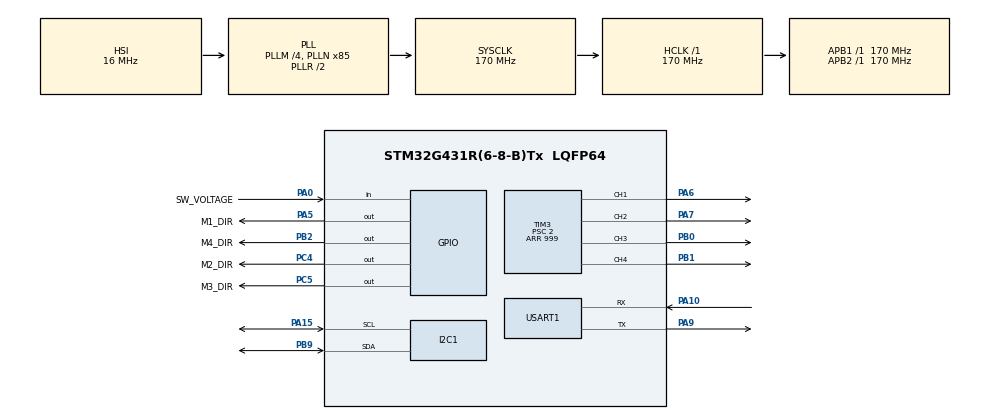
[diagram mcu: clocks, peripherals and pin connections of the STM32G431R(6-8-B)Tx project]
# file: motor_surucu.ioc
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I2C1.Timing=0x40B285C2
Mcu.Family=STM32G4
Mcu.Name=STM32G431R(6-8-B)Tx
Mcu.Package=LQFP64
NVIC.PriorityGroup=NVIC_PRIORITYGROUP_4
NVIC.USART1_IRQn=true\:0\:0\:false\:false\:true\:true\:true\:true
PA0.GPIO_Label=SW_VOLTAGE
PA0.GPIO_PuPd=GPIO_PULLUP
PA0.Signal=GPIO_Input
PA10.Mode=Asynchronous
PA10.Signal=USART1_RX
PA13.Mode=Serial_Wire
PA13.Signal=SYS_JTMS-SWDIO
PA14.Mode=Serial_Wire
PA14.Signal=SYS_JTCK-SWCLK
PA15.Mode=I2C
PA15.Signal=I2C1_SCL
PA5.GPIO_Label=M1_DIR
PA5.Signal=GPIO_Output
PA6.Signal=S_TIM3_CH1
PA7.Signal=S_TIM3_CH2
PA9.Mode=Asynchronous
PA9.Signal=USART1_TX
PB0.Signal=S_TIM3_CH3
PB1.Signal=S_TIM3_CH4
PB2.GPIO_Label=M4_DIR
PB2.Signal=GPIO_Output
PB9.Mode=I2C
PB9.Signal=I2C1_SDA
PC4.GPIO_Label=M2_DIR
PC4.Signal=GPIO_Output
PC5.GPIO_Label=M3_DIR
PC5.Signal=GPIO_Output
ProjectManager.HeapSize=0x200
ProjectManager.StackSize=0x400
ProjectManager.TargetToolchain=STM32CubeIDE
RCC.ADC12Freq_Value=170000000
RCC.AHBFreq_Value=170000000
RCC.APB1Freq_Value=170000000
RCC.APB1TimFreq_Value=170000000
RCC.APB2Freq_Value=170000000
RCC.APB2TimFreq_Value=170000000
RCC.CortexFreq_Value=170000000
RCC.EXTERNAL_CLOCK_VALUE=12288000
RCC.HCLKFreq_Value=170000000
RCC.HSE_VALUE=8000000
RCC.HSI48_VALUE=48000000
RCC.HSI_VALUE=16000000
RCC.LSE_VALUE=32768
RCC.PLLM=RCC_PLLM_DIV4
RCC.PLLN=85
RCC.SYSCLKFreq_VALUE=170000000
RCC.SYSCLKSource=RCC_SYSCLKSOURCE_PLLCLK
RCC.USBFreq_Value=170000000
RCC.VCOOutputFreq_Value=340000000
SH.S_TIM3_CH1.0=TIM3_CH1,PWM Generation1 CH1
SH.S_TIM3_CH2.0=TIM3_CH2,PWM Generation2 CH2
SH.S_TIM3_CH3.0=TIM3_CH3,PWM Generation3 CH3
SH.S_TIM3_CH4.0=TIM3_CH4,PWM Generation4 CH4
TIM3.AutoReloadPreload=TIM_AUTORELOAD_PRELOAD_ENABLE
TIM3.Channel-PWM\ Generation1\ CH1=TIM_CHANNEL_1
TIM3.Channel-PWM\ Generation2\ CH2=TIM_CHANNEL_2
TIM3.Channel-PWM\ Generation3\ CH3=TIM_CHANNEL_3
TIM3.Channel-PWM\ Generation4\ CH4=TIM_CHANNEL_4
TIM3.PeriodNoDither=999
TIM3.Prescaler=2
USART1.VirtualMode-Asynchronous=VM_ASYNC
VP_SYS_VS_DBSignals.Mode=DisableDeadBatterySignals
VP_TIM3_VS_ClockSourceINT.Mode=Internal
board=custom

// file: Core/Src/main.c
/* USER CODE BEGIN Header */
/**
  ******************************************************************************
  * @file           : main.c
  * @brief          : Main program body
  ******************************************************************************
  * @attention
  *
  * Copyright (c) 2026 STMicroelectronics.
  * All rights reserved.
  *
  * This software is licensed under terms that can be found in the LICENSE file
  * in the root directory of this software component.
  * If no LICENSE file comes with this software, it is provided AS-IS.
  *
  ******************************************************************************
  */
/* USER CODE END Header */
#include "main.h"

/* USER CODE BEGIN Includes */
#include <stdio.h>  // sscanf ve sprintf için
#include <string.h> // metin uzunluklarını ölçmek için
#include <stdlib.h> // genel matematik işlemleri için
/* USER CODE END Includes */

I2C_HandleTypeDef hi2c1;

TIM_HandleTypeDef htim3;

UART_HandleTypeDef huart1;

/* USER CODE BEGIN PV */
// --- HABERLEŞME DEĞİŞKENLERİ ---
uint8_t rx_data;             // Gelen tek harf
uint8_t rx_buffer[50];       // Gelen cümlenin tamamı
uint8_t rx_index = 0;        // Sıra numarası
uint8_t komut_geldi_bayragi = 0; // Mesaj tamamlandı mı?

// --- SİSTEM AYARLARI ---
// Başlangıçta 416 (5V Modu) olsun ki güvenli başlasın.
uint16_t voltaj_limiti = 416;
/* USER CODE END PV */

void SystemClock_Config(void);
static void MX_GPIO_Init(void);
static void MX_I2C1_Init(void);
static void MX_TIM3_Init(void);
static void MX_USART1_UART_Init(void);

/* USER CODE BEGIN 0 */
// --- 1. VOLTAJ MODU KONTROLÜ ---
void Modu_Kontrol_Et(void) {
    // Switch GND'ye (Aşağı) çekiliyse -> PIN 0 (Low) okunur -> 5V MODU
    if (HAL_GPIO_ReadPin(GPIOA, GPIO_PIN_0) == GPIO_PIN_RESET) {
        // 12V girişin %41.6'sı (Yaklaşık 5V çıkış)
        voltaj_limiti = 416;
    }
    // Switch Boşta (Yukarı) ise -> PIN 1 (High/Pull-up) okunur -> 12V MODU
    else {
        // Tam güç (12V çıkış)
        voltaj_limiti = 1000;
    }
}

// --- 2. MOTOR SÜRME FONKSİYONU ---
// Özellikler:
// - Minimum PWM Eşiği YOK (Lineer Hesap).
// - TB67 Sürücüsü için Geri Yön Düzeltmesi VAR.
// --- 2. MOTOR SÜRME FONKSİYONU (TB67H451FNG Datasheet Uyumlu) ---
void Motoru_Sur(uint8_t motor_id, uint8_t yon, uint8_t hiz) {

    // Güvenlik: Hız 100'den büyük olamaz.
    if (hiz > 100) hiz = 100;

    uint32_t hedef_pwm = 0;
    uint32_t final_pulse = 0;

    // 1. ADIM: Hedef PWM'i Voltaj Limitine Göre Hesapla
    // 5V Modu: (100 * 416) / 100 = 416 Pulse
    // 12V Modu: (100 * 1000) / 100 = 1000 Pulse
    if (hiz > 0) {
        hedef_pwm = (hiz * voltaj_limiti) / 100;
    } else {
        hedef_pwm = 0;
    }

    // 2. ADIM: Sürücü Mantığına Göre Pulse Ayarla
    // TB67H451FNG'de bir pin High iken diğerini PWM'lersek mantık ters işler.

    if (yon == 0) {
        // --- DURUM A: Yön Pini LOW (0) ---
        // IN1 = 0, IN2 = PWM
        // PWM High oldukça motor hızlanır (Düz Mantık).
        // Modlar: Stop (L/L) <-> Reverse (L/H)
        final_pulse = hedef_pwm;
    }
    else {
        // --- DURUM B: Yön Pini HIGH (1) ---
        // IN1 = 1, IN2 = PWM
        // PWM LOW oldukça motor hızlanır (Ters Mantık).
        // Modlar: Forward (H/L) <-> Brake (H/H)
        // 5V istiyorsak (416 güç), sinyalin %41'i LOW, %59'u HIGH olmalı.
        final_pulse = 1000 - hedef_pwm;
    }

    // 3. ADIM: Pinlere Uygula
    switch (motor_id) {
        case 1: // M1
            HAL_GPIO_WritePin(M1_DIR_GPIO_Port, M1_DIR_Pin, (yon ? GPIO_PIN_SET : GPIO_PIN_RESET));
            __HAL_TIM_SET_COMPARE(&htim3, TIM_CHANNEL_1, final_pulse);
            break;

        case 2: // M2
            HAL_GPIO_WritePin(M2_DIR_GPIO_Port, M2_DIR_Pin, (yon ? GPIO_PIN_SET : GPIO_PIN_RESET));
            __HAL_TIM_SET_COMPARE(&htim3, TIM_CHANNEL_2, final_pulse);
            break;

        case 3: // M3
            HAL_GPIO_WritePin(M3_DIR_GPIO_Port, M3_DIR_Pin, (yon ? GPIO_PIN_SET : GPIO_PIN_RESET));
            __HAL_TIM_SET_COMPARE(&htim3, TIM_CHANNEL_3, final_pulse);
            break;

        case 4: // M4
            HAL_GPIO_WritePin(M4_DIR_GPIO_Port, M4_DIR_Pin, (yon ? GPIO_PIN_SET : GPIO_PIN_RESET));
            __HAL_TIM_SET_COMPARE(&htim3, TIM_CHANNEL_4, final_pulse);
            break;
    }
}// --- 3. UART KESME (RX Callback) ---
void HAL_UART_RxCpltCallback(UART_HandleTypeDef *huart) {
    if (huart->Instance == USART1) {
        // Satır sonu (Enter) karakteri geldi mi?
        if (rx_data == '\n' || rx_data == '\r') {
            rx_buffer[rx_index] = 0; // Stringi kapat
            komut_geldi_bayragi = 1; // Main'e haber ver
            rx_index = 0;            // Sayacı sıfırla
        } else {
            // Buffer taşmasın diye kontrol et
            if (rx_index < 49) {
                rx_buffer[rx_index++] = rx_data; // Harfi kaydet
            }
        }
        // Kesmeyi tekrar aktifleştir
        HAL_UART_Receive_IT(&huart1, &rx_data, 1);
    }
}
/* USER CODE END 0 */

int main(void)
{

  /* MCU Configuration--------------------------------------------------------*/

  /* Reset of all peripherals, Initializes the Flash interface and the Systick. */
  HAL_Init();

  /* Configure the system clock */
  SystemClock_Config();

  /* Initialize all configured peripherals */
  MX_GPIO_Init();
  MX_I2C1_Init();
  MX_TIM3_Init();
  MX_USART1_UART_Init();
  /* USER CODE BEGIN 2 */
  // 1. Dört PWM kanalını da başlatıyoruz (Motorlara sinyal gitmeye başlar ama hız 0'dır)
    HAL_TIM_PWM_Start(&htim3, TIM_CHANNEL_1);
    HAL_TIM_PWM_Start(&htim3, TIM_CHANNEL_2);
    HAL_TIM_PWM_Start(&htim3, TIM_CHANNEL_3);
    HAL_TIM_PWM_Start(&htim3, TIM_CHANNEL_4);

    // 2. UART Dinlemesini Başlatıyoruz (Kulağını aç, veri gelirse kesmeye git)
    HAL_UART_Receive_IT(&huart1, &rx_data, 1);

    // 3. Başlangıç mesajı gönderelim (Opsiyonel ama hoş durur)
    char *msg = "Sistem Hazir! Komut Bekleniyor...\r\n";
    HAL_UART_Transmit(&huart1, (uint8_t*)msg, strlen(msg), 100);
  /* USER CODE END 2 */

  /* Infinite loop */
  while (1)
  {

    /* USER CODE BEGIN 3 */
	  // ADIM A: Switch Durumunu Kontrol Et (Sürekli)
	      Modu_Kontrol_Et();

	      // ADIM B: UART'tan Komut Geldi mi?
	      if (komut_geldi_bayragi == 1) {
	          komut_geldi_bayragi = 0; // Bayrağı indir

	          int m_id, m_hiz;
	          char m_yon_char; // 'F' veya 'R'

	          // Gelen veriyi parçala: Örn "M1 F 100"
	          if (sscanf((char*)rx_buffer, "M%d %c %d", &m_id, &m_yon_char, &m_hiz) == 3) {

	              // Yön Harfini Sayıya Çevir: R=1(Geri), Diğerleri=0(İleri)
	              uint8_t yon_kodu = 0;
	              if (m_yon_char == 'R' || m_yon_char == 'r') {
	                  yon_kodu = 1;
	              }

	              // Motoru Sür
	              Motoru_Sur(m_id, yon_kodu, m_hiz);

	              // Geri Bildirim Gönder (Limit bilgisini de içerir)
	              char tx_msg[64];
	              sprintf(tx_msg, "OK -> Motor:%d Yon:%c Hiz:%d (Limit:%d)\r\n",
	                      m_id, m_yon_char, m_hiz, voltaj_limiti);
	              HAL_UART_Transmit(&huart1, (uint8_t*)tx_msg, strlen(tx_msg), 100);

	          } else {
	              // Hatalı Format Uyarısı
	              char *err = "HATA: Format 'M1 F 100' olmali.\r\n";
	              HAL_UART_Transmit(&huart1, (uint8_t*)err, strlen(err), 100);
	          }
	      }

	      // İşlemciyi çok yormamak için kısa bekleme
	      HAL_Delay(10);

  }
  /* USER CODE END 3 */
}

void SystemClock_Config(void)
{
  RCC_OscInitTypeDef RCC_OscInitStruct = {0};
  RCC_ClkInitTypeDef RCC_ClkInitStruct = {0};

  /** Configure the main internal regulator output voltage
  */
  HAL_PWREx_ControlVoltageScaling(PWR_REGULATOR_VOLTAGE_SCALE1_BOOST);

  /** Initializes the RCC Oscillators according to the specified parameters
  * in the RCC_OscInitTypeDef structure.
  */
  RCC_OscInitStruct.OscillatorType = RCC_OSCILLATORTYPE_HSI;
  RCC_OscInitStruct.HSIState = RCC_HSI_ON;
  RCC_OscInitStruct.HSICalibrationValue = RCC_HSICALIBRATION_DEFAULT;
  RCC_OscInitStruct.PLL.PLLState = RCC_PLL_ON;
  RCC_OscInitStruct.PLL.PLLSource = RCC_PLLSOURCE_HSI;
  RCC_OscInitStruct.PLL.PLLM = RCC_PLLM_DIV4;
  RCC_OscInitStruct.PLL.PLLN = 85;
  RCC_OscInitStruct.PLL.PLLP = RCC_PLLP_DIV2;
  RCC_OscInitStruct.PLL.PLLQ = RCC_PLLQ_DIV2;
  RCC_OscInitStruct.PLL.PLLR = RCC_PLLR_DIV2;
  if (HAL_RCC_OscConfig(&RCC_OscInitStruct) != HAL_OK)
  {
    Error_Handler();
  }

  /** Initializes the CPU, AHB and APB buses clocks
  */
  RCC_ClkInitStruct.ClockType = RCC_CLOCKTYPE_HCLK|RCC_CLOCKTYPE_SYSCLK
                              |RCC_CLOCKTYPE_PCLK1|RCC_CLOCKTYPE_PCLK2;
  RCC_ClkInitStruct.SYSCLKSource = RCC_SYSCLKSOURCE_PLLCLK;
  RCC_ClkInitStruct.AHBCLKDivider = RCC_SYSCLK_DIV1;
  RCC_ClkInitStruct.APB1CLKDivider = RCC_HCLK_DIV1;
  RCC_ClkInitStruct.APB2CLKDivider = RCC_HCLK_DIV1;

  if (HAL_RCC_ClockConfig(&RCC_ClkInitStruct, FLASH_LATENCY_4) != HAL_OK)
  {
    Error_Handler();
  }
}

static void MX_I2C1_Init(void)
{

  hi2c1.Instance = I2C1;
  hi2c1.Init.Timing = 0x40B285C2;
  hi2c1.Init.OwnAddress1 = 0;
  hi2c1.Init.AddressingMode = I2C_ADDRESSINGMODE_7BIT;
  hi2c1.Init.DualAddressMode = I2C_DUALADDRESS_DISABLE;
  hi2c1.Init.OwnAddress2 = 0;
  hi2c1.Init.OwnAddress2Masks = I2C_OA2_NOMASK;
  hi2c1.Init.GeneralCallMode = I2C_GENERALCALL_DISABLE;
  hi2c1.Init.NoStretchMode = I2C_NOSTRETCH_DISABLE;
  if (HAL_I2C_Init(&hi2c1) != HAL_OK)
  {
    Error_Handler();
  }

  /** Configure Analogue filter
  */
  if (HAL_I2CEx_ConfigAnalogFilter(&hi2c1, I2C_ANALOGFILTER_ENABLE) != HAL_OK)
  {
    Error_Handler();
  }

  /** Configure Digital filter
  */
  if (HAL_I2CEx_ConfigDigitalFilter(&hi2c1, 0) != HAL_OK)
  {
    Error_Handler();
  }

}

static void MX_TIM3_Init(void)
{

  TIM_ClockConfigTypeDef sClockSourceConfig = {0};
  TIM_MasterConfigTypeDef sMasterConfig = {0};
  TIM_OC_InitTypeDef sConfigOC = {0};

  htim3.Instance = TIM3;
  htim3.Init.Prescaler = 2;
  htim3.Init.CounterMode = TIM_COUNTERMODE_UP;
  htim3.Init.Period = 999;
  htim3.Init.ClockDivision = TIM_CLOCKDIVISION_DIV1;
  htim3.Init.AutoReloadPreload = TIM_AUTORELOAD_PRELOAD_ENABLE;
  if (HAL_TIM_Base_Init(&htim3) != HAL_OK)
  {
    Error_Handler();
  }
  sClockSourceConfig.ClockSource = TIM_CLOCKSOURCE_INTERNAL;
  if (HAL_TIM_ConfigClockSource(&htim3, &sClockSourceConfig) != HAL_OK)
  {
    Error_Handler();
  }
  if (HAL_TIM_PWM_Init(&htim3) != HAL_OK)
  {
    Error_Handler();
  }
  sMasterConfig.MasterOutputTrigger = TIM_TRGO_RESET;
  sMasterConfig.MasterSlaveMode = TIM_MASTERSLAVEMODE_DISABLE;
  if (HAL_TIMEx_MasterConfigSynchronization(&htim3, &sMasterConfig) != HAL_OK)
  {
    Error_Handler();
  }
  sConfigOC.OCMode = TIM_OCMODE_PWM1;
  sConfigOC.Pulse = 0;
  sConfigOC.OCPolarity = TIM_OCPOLARITY_HIGH;
  sConfigOC.OCFastMode = TIM_OCFAST_DISABLE;
  if (HAL_TIM_PWM_ConfigChannel(&htim3, &sConfigOC, TIM_CHANNEL_1) != HAL_OK)
  {
    Error_Handler();
  }
  if (HAL_TIM_PWM_ConfigChannel(&htim3, &sConfigOC, TIM_CHANNEL_2) != HAL_OK)
  {
    Error_Handler();
  }
  if (HAL_TIM_PWM_ConfigChannel(&htim3, &sConfigOC, TIM_CHANNEL_3) != HAL_OK)
  {
    Error_Handler();
  }
  if (HAL_TIM_PWM_ConfigChannel(&htim3, &sConfigOC, TIM_CHANNEL_4) != HAL_OK)
  {
    Error_Handler();
  }
  HAL_TIM_MspPostInit(&htim3);

}

static void MX_USART1_UART_Init(void)
{

  huart1.Instance = USART1;
  huart1.Init.BaudRate = 115200;
  huart1.Init.WordLength = UART_WORDLENGTH_8B;
  huart1.Init.StopBits = UART_STOPBITS_1;
  huart1.Init.Parity = UART_PARITY_NONE;
  huart1.Init.Mode = UART_MODE_TX_RX;
  huart1.Init.HwFlowCtl = UART_HWCONTROL_NONE;
  huart1.Init.OverSampling = UART_OVERSAMPLING_16;
  huart1.Init.OneBitSampling = UART_ONE_BIT_SAMPLE_DISABLE;
  huart1.Init.ClockPrescaler = UART_PRESCALER_DIV1;
  huart1.AdvancedInit.AdvFeatureInit = UART_ADVFEATURE_NO_INIT;
  if (HAL_UART_Init(&huart1) != HAL_OK)
  {
    Error_Handler();
  }
  if (HAL_UARTEx_SetTxFifoThreshold(&huart1, UART_TXFIFO_THRESHOLD_1_8) != HAL_OK)
  {
    Error_Handler();
  }
  if (HAL_UARTEx_SetRxFifoThreshold(&huart1, UART_RXFIFO_THRESHOLD_1_8) != HAL_OK)
  {
    Error_Handler();
  }
  if (HAL_UARTEx_DisableFifoMode(&huart1) != HAL_OK)
  {
    Error_Handler();
  }

}

static void MX_GPIO_Init(void)
{
  GPIO_InitTypeDef GPIO_InitStruct = {0};

  /* GPIO Ports Clock Enable */
  __HAL_RCC_GPIOA_CLK_ENABLE();
  __HAL_RCC_GPIOC_CLK_ENABLE();
  __HAL_RCC_GPIOB_CLK_ENABLE();

  /*Configure GPIO pin Output Level */
  HAL_GPIO_WritePin(M1_DIR_GPIO_Port, M1_DIR_Pin, GPIO_PIN_RESET);

  /*Configure GPIO pin Output Level */
  HAL_GPIO_WritePin(GPIOC, M2_DIR_Pin|M3_DIR_Pin, GPIO_PIN_RESET);

  /*Configure GPIO pin Output Level */
  HAL_GPIO_WritePin(M4_DIR_GPIO_Port, M4_DIR_Pin, GPIO_PIN_RESET);

  /*Configure GPIO pin : SW_VOLTAGE_Pin */
  GPIO_InitStruct.Pin = SW_VOLTAGE_Pin;
  GPIO_InitStruct.Mode = GPIO_MODE_INPUT;
  GPIO_InitStruct.Pull = GPIO_PULLUP;
  HAL_GPIO_Init(SW_VOLTAGE_GPIO_Port, &GPIO_InitStruct);

  /*Configure GPIO pin : M1_DIR_Pin */
  GPIO_InitStruct.Pin = M1_DIR_Pin;
  GPIO_InitStruct.Mode = GPIO_MODE_OUTPUT_PP;
  GPIO_InitStruct.Pull = GPIO_NOPULL;
  GPIO_InitStruct.Speed = GPIO_SPEED_FREQ_LOW;
  HAL_GPIO_Init(M1_DIR_GPIO_Port, &GPIO_InitStruct);

  /*Configure GPIO pins : M2_DIR_Pin M3_DIR_Pin */
  GPIO_InitStruct.Pin = M2_DIR_Pin|M3_DIR_Pin;
  GPIO_InitStruct.Mode = GPIO_MODE_OUTPUT_PP;
  GPIO_InitStruct.Pull = GPIO_NOPULL;
  GPIO_InitStruct.Speed = GPIO_SPEED_FREQ_LOW;
  HAL_GPIO_Init(GPIOC, &GPIO_InitStruct);

  /*Configure GPIO pin : M4_DIR_Pin */
  GPIO_InitStruct.Pin = M4_DIR_Pin;
  GPIO_InitStruct.Mode = GPIO_MODE_OUTPUT_PP;
  GPIO_InitStruct.Pull = GPIO_NOPULL;
  GPIO_InitStruct.Speed = GPIO_SPEED_FREQ_LOW;
  HAL_GPIO_Init(M4_DIR_GPIO_Port, &GPIO_InitStruct);

}

void Error_Handler(void)
{
  __disable_irq();
  while (1)
  {
  }
}
